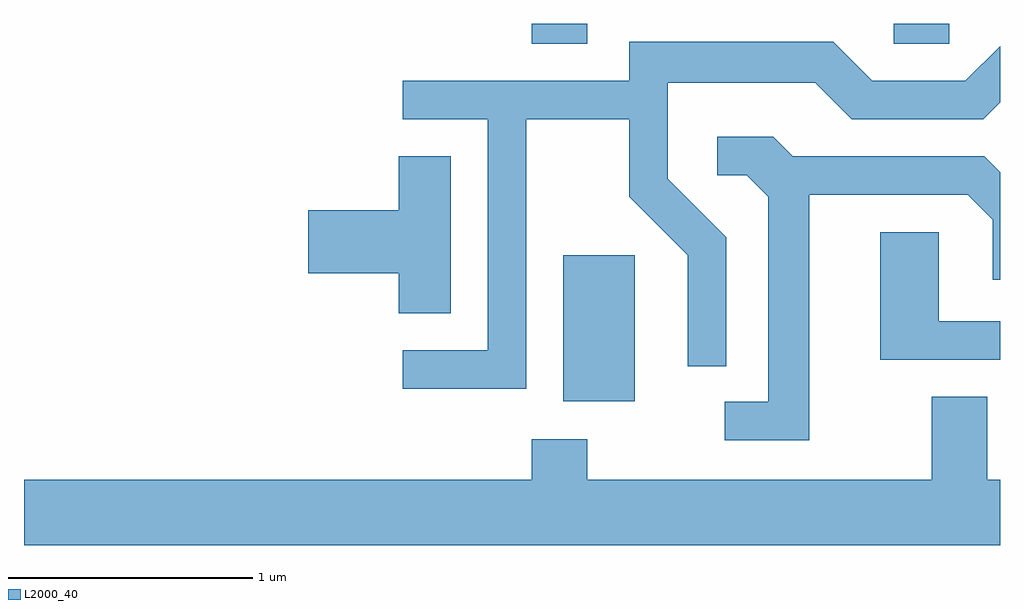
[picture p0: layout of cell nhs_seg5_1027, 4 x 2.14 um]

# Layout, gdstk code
import gdstk
lib = gdstk.Library(unit=1e-6, precision=1e-09)
def R(c, l, rs):  # rectangles x0, y0, x1, y1
    for r in rs: c.add(gdstk.rectangle(r[:2], r[2:], *l))
def P(c, l, *ps):  # polygons
    for p in ps: c.add(gdstk.Polygon(p, *l))
L2000_40 = (2000, 40)

nhs_seg5_1027 = lib.new_cell('nhs_seg5_1027')
R(nhs_seg5_1027, L2000_40, [(217.821,1428.526,218.114,1429.124), (217.691,1429.991,217.919,1430.072), (219.176,1429.991,219.404,1430.072)])
P(nhs_seg5_1027, L2000_40, [(217.669,1429.681),(218.091,1429.681),(218.091,1429.364),(218.331,1429.124),(218.331,1428.668),(218.489,1428.668),(218.489,1429.197),(218.249,1429.437),(218.249,1429.831),(218.854,1429.831),(219.004,1429.681),(219.542,1429.681),(219.611,1429.75),(219.611,1429.981),(219.469,1429.839),(219.087,1429.839),(218.927,1429.999),(218.091,1429.999),(218.091,1429.839),(217.163,1429.839),(217.163,1429.681),(217.511,1429.681),(217.511,1428.734),(217.163,1428.734),(217.163,1428.576),(217.669,1428.576)],
  [(218.829,1429.371),(219.479,1429.371),(219.581,1429.269),(219.581,1429.023),(219.611,1429.023),(219.611,1429.465),(219.547,1429.529),(218.762,1429.529),(218.682,1429.609),(218.453,1429.609),(218.453,1429.451),(218.574,1429.451),(218.661,1429.364),(218.661,1428.524),(218.483,1428.524),(218.483,1428.366),(218.829,1428.366)],
  [(217.359,1429.529),(217.146,1429.529),(217.146,1429.309),(216.776,1429.309),(216.776,1429.051),(217.146,1429.051),(217.146,1428.886),(217.359,1428.886)],
  [(219.611,1428.854),(219.359,1428.854),(219.359,1429.219),(219.121,1429.219),(219.121,1428.696),(219.611,1428.696)],
  [(219.611,1428.204),(219.559,1428.204),(219.559,1428.544),(219.331,1428.544),(219.331,1428.204),(217.919,1428.204),(217.919,1428.369),(217.691,1428.369),(217.691,1428.204),(215.611,1428.204),(215.611,1427.936),(219.611,1427.936)])

lib.write_gds('nhs_seg5_1027.gds')
